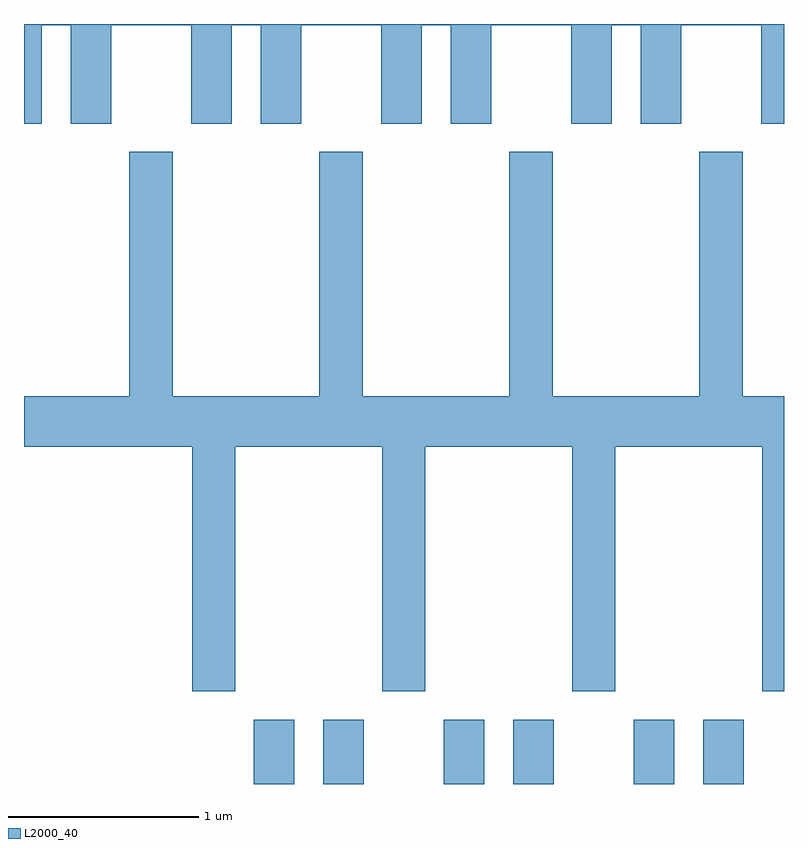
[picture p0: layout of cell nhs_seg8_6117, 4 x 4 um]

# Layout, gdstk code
import gdstk
lib = gdstk.Library(unit=1e-6, precision=1e-09)
def R(c, l, rs):  # rectangles x0, y0, x1, y1
    for r in rs: c.add(gdstk.rectangle(r[:2], r[2:], *l))
def P(c, l, *ps):  # polygons
    for p in ps: c.add(gdstk.Polygon(p, *l))
L2000_40 = (2000, 40)

nhs_seg8_6117 = lib.new_cell('nhs_seg8_6117')
R(nhs_seg8_6117, L2000_40, [(368.821,1912.342,369.034,1912.679), (369.186,1912.342,369.399,1912.679), (369.821,1912.342,370.034,1912.679), (370.186,1912.342,370.399,1912.679), (370.821,1912.342,371.034,1912.679), (371.186,1912.342,371.399,1912.679)])
P(nhs_seg8_6117, L2000_40, [(367.704,1916.336),(367.856,1916.336),(367.856,1915.816),(368.069,1915.816),(368.069,1916.336),(368.491,1916.336),(368.491,1915.816),(368.704,1915.816),(368.704,1916.336),(368.856,1916.336),(368.856,1915.816),(369.069,1915.816),(369.069,1916.336),(369.491,1916.336),(369.491,1915.816),(369.704,1915.816),(369.704,1916.336),(369.856,1916.336),(369.856,1915.816),(370.069,1915.816),(370.069,1916.336),(370.491,1916.336),(370.491,1915.816),(370.704,1915.816),(370.704,1916.336),(370.856,1916.336),(370.856,1915.816),(371.069,1915.816),(371.069,1916.336),(371.491,1916.336),(371.491,1915.816),(371.611,1915.816),(371.611,1916.342),(367.611,1916.342),(367.611,1915.816),(367.704,1915.816)],
  [(368.724,1914.116),(369.496,1914.116),(369.496,1912.831),(369.724,1912.831),(369.724,1914.116),(370.496,1914.116),(370.496,1912.831),(370.724,1912.831),(370.724,1914.116),(371.496,1914.116),(371.496,1912.831),(371.611,1912.831),(371.611,1914.384),(371.394,1914.384),(371.394,1915.669),(371.166,1915.669),(371.166,1914.384),(370.394,1914.384),(370.394,1915.669),(370.166,1915.669),(370.166,1914.384),(369.394,1914.384),(369.394,1915.669),(369.166,1915.669),(369.166,1914.384),(368.394,1914.384),(368.394,1915.669),(368.166,1915.669),(368.166,1914.384),(367.611,1914.384),(367.611,1914.116),(368.496,1914.116),(368.496,1912.831),(368.724,1912.831)])

lib.write_gds('nhs_seg8_6117.gds')
